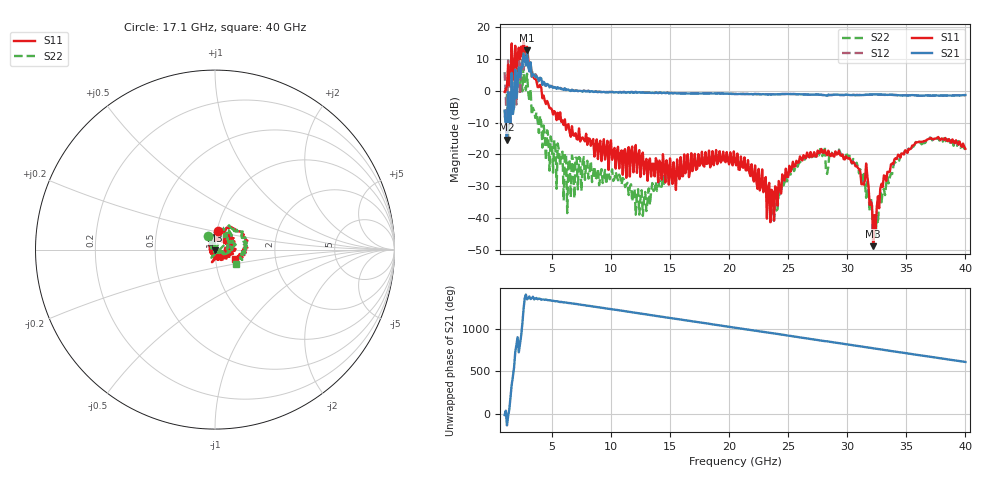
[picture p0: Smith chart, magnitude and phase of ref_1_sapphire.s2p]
!Keysight Technologies,N5224A,MY55441802,A.10.65.16
!Date: Wednesday, May 13, 2026 18:18:13
!Correction: S11(Full 2 Port(1,2))
!S21(Full 2 Port(1,2))
!S12(Full 2 Port(1,2))
!S22(Full 2 Port(1,2))
!S2P File: Measurements: S11, S21, S12, S22:
# Hz S  dB  R 50
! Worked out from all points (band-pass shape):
!   391 points, 1 GHz to 40 GHz, reference 50 ohm
!   highest |S21| = 12.58 dB at 2.9 GHz (marker M1); lowest = -15.3 dB at 1.2 GHz (marker M2)
!   |S21| within 3 dB of the highest: 2.553 GHz to 2.706 GHz (153.3 MHz wide, 5.83 % of centre); 2.837 GHz to 2.959 GHz (122.1 MHz wide, 4.21 % of centre)
!   lowest |S11| = -48.7 dB at 32.2 GHz (marker M3), VSWR 1.01, Z = 50 - j0.365 ohm
!   |S11| at or under -10 dB: 5.945 GHz to 6.044 GHz (99.59 MHz wide, 1.66 % of centre); 6.13 GHz to end of sweep
!   |S22| runs from -48.5 to 7.3 dB; largest |S21 - S12| = 2.8
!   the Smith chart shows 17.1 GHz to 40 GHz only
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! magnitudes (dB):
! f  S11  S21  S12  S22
! 1 GHz  -0.4  -6.3  5.8  -8.5
! 1.2 GHz  1.5  -15.3  -14.9  -0.9
! 1.3 GHz  8.2  -0.5  9.5  -15.0
! 1.5 GHz  3.2  -9.9  -11.4  -1.1
! 1.6 GHz  14.8  5.5  13.4  -3.5
! 1.8 GHz  6.1  -5.1  -5.3  0.1
! 1.9 GHz  14.0  6.6  12.0  0.1
! 2 GHz  5.9  -2.3  -4.4  -1.6
! 2.9 GHz  13.7  12.6  10.2  5.3
! 5.4 GHz  -9.2  0.5  0.9  -30.7
! 6.2 GHz  -12.3  0.1  0.2  -20.1
! 6.3 GHz  -10.9  0.3  0.4  -38.4
! 6.4 GHz  -10.5  0.3  0.3  -21.9
! 7.5 GHz  -14.9  -0.2  0.0  -31.4
! 14 GHz  -28.7  -0.8  -0.8  -30.8
! 20.5 GHz  -22.3  -1.1  -1.0  -21.8
! 23.5 GHz  -41.2  -1.2  -1.2  -36.7
! 27 GHz  -20.7  -1.3  -1.3  -20.9
! 31.6 GHz  -22.8  -1.3  -1.3  -33.6
! 32.2 GHz  -48.7  -1.2  -1.2  -48.5
! 33.5 GHz  -25.5  -1.3  -1.3  -29.0
! 40 GHz  -18.2  -1.4  -1.5  -17.0
